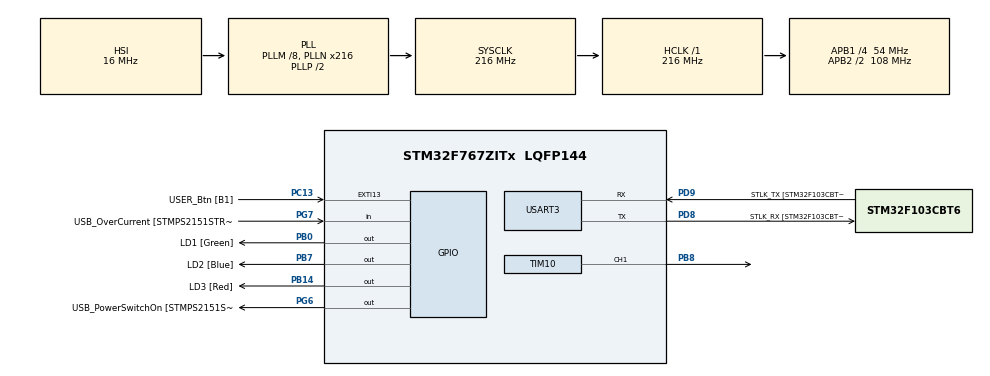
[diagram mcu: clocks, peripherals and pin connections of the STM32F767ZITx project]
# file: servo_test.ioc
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Mcu.Family=STM32F7
Mcu.Name=STM32F767ZITx
Mcu.Package=LQFP144
NVIC.PriorityGroup=NVIC_PRIORITYGROUP_4
PA1.GPIO_Label=RMII_REF_CLK [LAN8742A-CZ-TR_REFCLK0]
PA1.Signal=ETH_REF_CLK
PA10.GPIO_Label=USB_ID
PA10.Signal=USB_OTG_FS_ID
PA11.GPIO_Label=USB_DM
PA11.Signal=USB_OTG_FS_DM
PA12.GPIO_Label=USB_DP
PA12.Signal=USB_OTG_FS_DP
PA13.GPIO_Label=TMS
PA13.Signal=SYS_JTMS-SWDIO
PA14.GPIO_Label=TCK
PA14.Signal=SYS_JTCK-SWCLK
PA2.GPIO_Label=RMII_MDIO [LAN8742A-CZ-TR_MDIO]
PA2.Signal=ETH_MDIO
PA7.GPIO_Label=RMII_CRS_DV [LAN8742A-CZ-TR_CRS_DV]
PA7.Signal=ETH_CRS_DV
PA8.GPIO_Label=USB_SOF [TP1]
PA8.Signal=USB_OTG_FS_SOF
PA9.GPIO_Label=USB_VBUS
PA9.Signal=USB_OTG_FS_VBUS
PB0.GPIO_Label=LD1 [Green]
PB0.Signal=GPIO_Output
PB13.GPIO_Label=RMII_TXD1 [LAN8742A-CZ-TR_TXD1]
PB13.Signal=ETH_TXD1
PB14.GPIO_Label=LD3 [Red]
PB14.Signal=GPIO_Output
PB3.GPIO_Label=SW0
PB3.Signal=SYS_JTDO-SWO
PB7.GPIO_Label=LD2 [Blue]
PB7.Signal=GPIO_Output
PB8.Signal=S_TIM10_CH1
PC1.GPIO_Label=RMII_MDC [LAN8742A-CZ-TR_MDC]
PC1.Signal=ETH_MDC
PC13.GPIO_Label=USER_Btn [B1]
PC13.Signal=GPXTI13
PC14/OSC32_IN.Signal=RCC_OSC32_IN
PC15/OSC32_OUT.Signal=RCC_OSC32_OUT
PC4.GPIO_Label=RMII_RXD0 [LAN8742A-CZ-TR_RXD0]
PC4.Signal=ETH_RXD0
PC5.GPIO_Label=RMII_RXD1 [LAN8742A-CZ-TR_RXD1]
PC5.Signal=ETH_RXD1
PD8.GPIO_Label=STLK_RX [STM32F103CBT6_PA3]
PD8.Mode=Asynchronous
PD8.Signal=USART3_TX
PD9.GPIO_Label=STLK_TX [STM32F103CBT6_PA2]
PD9.Mode=Asynchronous
PD9.Signal=USART3_RX
PG11.GPIO_Label=RMII_TX_EN [LAN8742A-CZ-TR_TXEN]
PG11.Signal=ETH_TX_EN
PG13.GPIO_Label=RMII_TXD0 [LAN8742A-CZ-TR_TXD0]
PG13.Signal=ETH_TXD0
PG6.GPIO_Label=USB_PowerSwitchOn [STMPS2151STR_EN]
PG6.Signal=GPIO_Output
PG7.GPIO_Label=USB_OverCurrent [STMPS2151STR_FAULT]
PG7.Signal=GPIO_Input
PH0/OSC_IN.GPIO_Label=MCO [STM32F103CBT6_PA8]
PH0/OSC_IN.Signal=RCC_OSC_IN
PH1/OSC_OUT.Signal=RCC_OSC_OUT
ProjectManager.HeapSize=0x200
ProjectManager.StackSize=0x400
ProjectManager.TargetToolchain=STM32CubeIDE
RCC.48MHZClocksFreq_Value=24000000
RCC.AHBFreq_Value=216000000
RCC.APB1CLKDivider=RCC_HCLK_DIV4
RCC.APB1Freq_Value=54000000
RCC.APB1TimFreq_Value=108000000
RCC.APB2CLKDivider=RCC_HCLK_DIV2
RCC.APB2Freq_Value=108000000
RCC.APB2TimFreq_Value=216000000
RCC.CortexFreq_Value=216000000
RCC.HCLKFreq_Value=216000000
RCC.HSE_VALUE=16000000
RCC.HSI_VALUE=16000000
RCC.LSE_VALUE=32768
RCC.PLLM=8
RCC.PLLMUL=RCC_PLL_MUL9
RCC.PLLN=216
RCC.PRESCALERUSB=RCC_USBCLKSOURCE_PLL_DIV1_5
RCC.SYSCLKFreq_VALUE=216000000
RCC.SYSCLKSource=RCC_SYSCLKSOURCE_PLLCLK
RCC.SYSCLKSourceVirtual=RCC_SYSCLKSOURCE_PLLCLK
RCC.USBFreq_Value=216000000
RCC.VCOOutputFreq_Value=432000000
SH.S_TIM10_CH1.0=TIM10_CH1,PWM Generation1 CH1
TIM10.AutoReloadPreload=TIM_AUTORELOAD_PRELOAD_ENABLE
TIM10.Channel=TIM_CHANNEL_1
TIM10.Period=59999
TIM10.Prescaler=71
USART3.VirtualMode-Asynchronous=VM_ASYNC
VP_TIM10_VS_ClockSourceINT.Mode=Enable_Timer
board=NUCLEO-F767ZI

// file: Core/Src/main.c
/* USER CODE BEGIN Header */
/**
  ******************************************************************************
  * @file           : main.c
  * @brief          : Main program body
  ******************************************************************************
  * @attention
  *
  * Copyright (c) 2024 STMicroelectronics.
  * All rights reserved.
  *
  * This software is licensed under terms that can be found in the LICENSE file
  * in the root directory of this software component.
  * If no LICENSE file comes with this software, it is provided AS-IS.
  *
  ******************************************************************************
  */
/* USER CODE END Header */
#include "main.h"

/* USER CODE BEGIN Includes */

#include "ugv_servo.h"

/* USER CODE END Includes */

TIM_HandleTypeDef htim10;

UART_HandleTypeDef huart3;

/* USER CODE BEGIN PV */
ugvServo_t steeringServo;
float steer_val = 0;

/* USER CODE END PV */

void SystemClock_Config(void);
static void MX_GPIO_Init(void);
static void MX_TIM10_Init(void);
static void MX_USART3_UART_Init(void);

int main(void)
{

  /* MCU Configuration--------------------------------------------------------*/

  /* Reset of all peripherals, Initializes the Flash interface and the Systick. */
  HAL_Init();

  /* Configure the system clock */
  SystemClock_Config();

  /* Initialize all configured peripherals */
  MX_GPIO_Init();
  MX_TIM10_Init();
  MX_USART3_UART_Init();
  /* USER CODE BEGIN 2 */

  // 2022 Servo Driver
    steeringServo.timerInstance = &htim10;
    steeringServo.timerCCRX = &TIM10->CCR1;
    steeringServo.timerCh = TIM_CHANNEL_1;
    steeringServo.timerARR = 59999;
    steeringServo.minPulse = 500;
    steeringServo.maxPulse = 2700;
    steeringServo.timerPeriod = 20000;
    steeringServo.travelAngle = 360.0;
//	steeringServo.minLimit = 1;
//	steeringServo.maxLimit = 270.0;

//	steeringServo.minLimit = 0;
//	steeringServo.maxLimit = 360.0;
//	steeringServo.travelOffset = 50;

	steeringServo.minLimit = 0;
	steeringServo.maxLimit = 200.0;
	steeringServo.travelOffset = 50;
	ugv_servoInitServo(&steeringServo);

	//steer_val = 100;
  /* USER CODE END 2 */

  /* Infinite loop */
  /* USER CODE BEGIN WHILE */
  while (1)
  {
	  ugv_servoSetAngle(&steeringServo, steer_val);

    /* USER CODE END WHILE */

  }
}

void SystemClock_Config(void)
{
  RCC_OscInitTypeDef RCC_OscInitStruct = {0};
  RCC_ClkInitTypeDef RCC_ClkInitStruct = {0};

  /** Configure the main internal regulator output voltage
  */
  __HAL_RCC_PWR_CLK_ENABLE();
  __HAL_PWR_VOLTAGESCALING_CONFIG(PWR_REGULATOR_VOLTAGE_SCALE1);

  /** Initializes the RCC Oscillators according to the specified parameters
  * in the RCC_OscInitTypeDef structure.
  */
  RCC_OscInitStruct.OscillatorType = RCC_OSCILLATORTYPE_HSI;
  RCC_OscInitStruct.HSIState = RCC_HSI_ON;
  RCC_OscInitStruct.HSICalibrationValue = RCC_HSICALIBRATION_DEFAULT;
  RCC_OscInitStruct.PLL.PLLState = RCC_PLL_ON;
  RCC_OscInitStruct.PLL.PLLSource = RCC_PLLSOURCE_HSI;
  RCC_OscInitStruct.PLL.PLLM = 8;
  RCC_OscInitStruct.PLL.PLLN = 216;
  RCC_OscInitStruct.PLL.PLLP = RCC_PLLP_DIV2;
  RCC_OscInitStruct.PLL.PLLQ = 2;
  RCC_OscInitStruct.PLL.PLLR = 2;
  if (HAL_RCC_OscConfig(&RCC_OscInitStruct) != HAL_OK)
  {
    Error_Handler();
  }

  /** Activate the Over-Drive mode
  */
  if (HAL_PWREx_EnableOverDrive() != HAL_OK)
  {
    Error_Handler();
  }

  /** Initializes the CPU, AHB and APB buses clocks
  */
  RCC_ClkInitStruct.ClockType = RCC_CLOCKTYPE_HCLK|RCC_CLOCKTYPE_SYSCLK
                              |RCC_CLOCKTYPE_PCLK1|RCC_CLOCKTYPE_PCLK2;
  RCC_ClkInitStruct.SYSCLKSource = RCC_SYSCLKSOURCE_PLLCLK;
  RCC_ClkInitStruct.AHBCLKDivider = RCC_SYSCLK_DIV1;
  RCC_ClkInitStruct.APB1CLKDivider = RCC_HCLK_DIV4;
  RCC_ClkInitStruct.APB2CLKDivider = RCC_HCLK_DIV2;

  if (HAL_RCC_ClockConfig(&RCC_ClkInitStruct, FLASH_LATENCY_7) != HAL_OK)
  {
    Error_Handler();
  }
}

static void MX_TIM10_Init(void)
{

  TIM_OC_InitTypeDef sConfigOC = {0};

  htim10.Instance = TIM10;
  htim10.Init.Prescaler = 71;
  htim10.Init.CounterMode = TIM_COUNTERMODE_UP;
  htim10.Init.Period = 59999;
  htim10.Init.ClockDivision = TIM_CLOCKDIVISION_DIV1;
  htim10.Init.AutoReloadPreload = TIM_AUTORELOAD_PRELOAD_ENABLE;
  if (HAL_TIM_Base_Init(&htim10) != HAL_OK)
  {
    Error_Handler();
  }
  if (HAL_TIM_PWM_Init(&htim10) != HAL_OK)
  {
    Error_Handler();
  }
  sConfigOC.OCMode = TIM_OCMODE_PWM1;
  sConfigOC.Pulse = 0;
  sConfigOC.OCPolarity = TIM_OCPOLARITY_HIGH;
  sConfigOC.OCFastMode = TIM_OCFAST_DISABLE;
  if (HAL_TIM_PWM_ConfigChannel(&htim10, &sConfigOC, TIM_CHANNEL_1) != HAL_OK)
  {
    Error_Handler();
  }
  HAL_TIM_MspPostInit(&htim10);

}

static void MX_USART3_UART_Init(void)
{

  huart3.Instance = USART3;
  huart3.Init.BaudRate = 115200;
  huart3.Init.WordLength = UART_WORDLENGTH_8B;
  huart3.Init.StopBits = UART_STOPBITS_1;
  huart3.Init.Parity = UART_PARITY_NONE;
  huart3.Init.Mode = UART_MODE_TX_RX;
  huart3.Init.HwFlowCtl = UART_HWCONTROL_NONE;
  huart3.Init.OverSampling = UART_OVERSAMPLING_16;
  huart3.Init.OneBitSampling = UART_ONE_BIT_SAMPLE_DISABLE;
  huart3.AdvancedInit.AdvFeatureInit = UART_ADVFEATURE_NO_INIT;
  if (HAL_UART_Init(&huart3) != HAL_OK)
  {
    Error_Handler();
  }

}

static void MX_GPIO_Init(void)
{
  GPIO_InitTypeDef GPIO_InitStruct = {0};

  /* GPIO Ports Clock Enable */
  __HAL_RCC_GPIOC_CLK_ENABLE();
  __HAL_RCC_GPIOH_CLK_ENABLE();
  __HAL_RCC_GPIOA_CLK_ENABLE();
  __HAL_RCC_GPIOB_CLK_ENABLE();
  __HAL_RCC_GPIOD_CLK_ENABLE();
  __HAL_RCC_GPIOG_CLK_ENABLE();

  /*Configure GPIO pin Output Level */
  HAL_GPIO_WritePin(GPIOB, LD1_Pin|LD3_Pin|LD2_Pin, GPIO_PIN_RESET);

  /*Configure GPIO pin Output Level */
  HAL_GPIO_WritePin(USB_PowerSwitchOn_GPIO_Port, USB_PowerSwitchOn_Pin, GPIO_PIN_RESET);

  /*Configure GPIO pin : USER_Btn_Pin */
  GPIO_InitStruct.Pin = USER_Btn_Pin;
  GPIO_InitStruct.Mode = GPIO_MODE_IT_RISING;
  GPIO_InitStruct.Pull = GPIO_NOPULL;
  HAL_GPIO_Init(USER_Btn_GPIO_Port, &GPIO_InitStruct);

  /*Configure GPIO pins : RMII_MDC_Pin RMII_RXD0_Pin RMII_RXD1_Pin */
  GPIO_InitStruct.Pin = RMII_MDC_Pin|RMII_RXD0_Pin|RMII_RXD1_Pin;
  GPIO_InitStruct.Mode = GPIO_MODE_AF_PP;
  GPIO_InitStruct.Pull = GPIO_NOPULL;
  GPIO_InitStruct.Speed = GPIO_SPEED_FREQ_VERY_HIGH;
  GPIO_InitStruct.Alternate = GPIO_AF11_ETH;
  HAL_GPIO_Init(GPIOC, &GPIO_InitStruct);

  /*Configure GPIO pins : RMII_REF_CLK_Pin RMII_MDIO_Pin RMII_CRS_DV_Pin */
  GPIO_InitStruct.Pin = RMII_REF_CLK_Pin|RMII_MDIO_Pin|RMII_CRS_DV_Pin;
  GPIO_InitStruct.Mode = GPIO_MODE_AF_PP;
  GPIO_InitStruct.Pull = GPIO_NOPULL;
  GPIO_InitStruct.Speed = GPIO_SPEED_FREQ_VERY_HIGH;
  GPIO_InitStruct.Alternate = GPIO_AF11_ETH;
  HAL_GPIO_Init(GPIOA, &GPIO_InitStruct);

  /*Configure GPIO pins : LD1_Pin LD3_Pin LD2_Pin */
  GPIO_InitStruct.Pin = LD1_Pin|LD3_Pin|LD2_Pin;
  GPIO_InitStruct.Mode = GPIO_MODE_OUTPUT_PP;
  GPIO_InitStruct.Pull = GPIO_NOPULL;
  GPIO_InitStruct.Speed = GPIO_SPEED_FREQ_LOW;
  HAL_GPIO_Init(GPIOB, &GPIO_InitStruct);

  /*Configure GPIO pin : RMII_TXD1_Pin */
  GPIO_InitStruct.Pin = RMII_TXD1_Pin;
  GPIO_InitStruct.Mode = GPIO_MODE_AF_PP;
  GPIO_InitStruct.Pull = GPIO_NOPULL;
  GPIO_InitStruct.Speed = GPIO_SPEED_FREQ_VERY_HIGH;
  GPIO_InitStruct.Alternate = GPIO_AF11_ETH;
  HAL_GPIO_Init(RMII_TXD1_GPIO_Port, &GPIO_InitStruct);

  /*Configure GPIO pin : USB_PowerSwitchOn_Pin */
  GPIO_InitStruct.Pin = USB_PowerSwitchOn_Pin;
  GPIO_InitStruct.Mode = GPIO_MODE_OUTPUT_PP;
  GPIO_InitStruct.Pull = GPIO_NOPULL;
  GPIO_InitStruct.Speed = GPIO_SPEED_FREQ_LOW;
  HAL_GPIO_Init(USB_PowerSwitchOn_GPIO_Port, &GPIO_InitStruct);

  /*Configure GPIO pin : USB_OverCurrent_Pin */
  GPIO_InitStruct.Pin = USB_OverCurrent_Pin;
  GPIO_InitStruct.Mode = GPIO_MODE_INPUT;
  GPIO_InitStruct.Pull = GPIO_NOPULL;
  HAL_GPIO_Init(USB_OverCurrent_GPIO_Port, &GPIO_InitStruct);

  /*Configure GPIO pins : USB_SOF_Pin USB_ID_Pin USB_DM_Pin USB_DP_Pin */
  GPIO_InitStruct.Pin = USB_SOF_Pin|USB_ID_Pin|USB_DM_Pin|USB_DP_Pin;
  GPIO_InitStruct.Mode = GPIO_MODE_AF_PP;
  GPIO_InitStruct.Pull = GPIO_NOPULL;
  GPIO_InitStruct.Speed = GPIO_SPEED_FREQ_VERY_HIGH;
  GPIO_InitStruct.Alternate = GPIO_AF10_OTG_FS;
  HAL_GPIO_Init(GPIOA, &GPIO_InitStruct);

  /*Configure GPIO pin : USB_VBUS_Pin */
  GPIO_InitStruct.Pin = USB_VBUS_Pin;
  GPIO_InitStruct.Mode = GPIO_MODE_INPUT;
  GPIO_InitStruct.Pull = GPIO_NOPULL;
  HAL_GPIO_Init(USB_VBUS_GPIO_Port, &GPIO_InitStruct);

  /*Configure GPIO pins : RMII_TX_EN_Pin RMII_TXD0_Pin */
  GPIO_InitStruct.Pin = RMII_TX_EN_Pin|RMII_TXD0_Pin;
  GPIO_InitStruct.Mode = GPIO_MODE_AF_PP;
  GPIO_InitStruct.Pull = GPIO_NOPULL;
  GPIO_InitStruct.Speed = GPIO_SPEED_FREQ_VERY_HIGH;
  GPIO_InitStruct.Alternate = GPIO_AF11_ETH;
  HAL_GPIO_Init(GPIOG, &GPIO_InitStruct);

}

void Error_Handler(void)
{
  __disable_irq();
  while (1)
  {
  }
}
